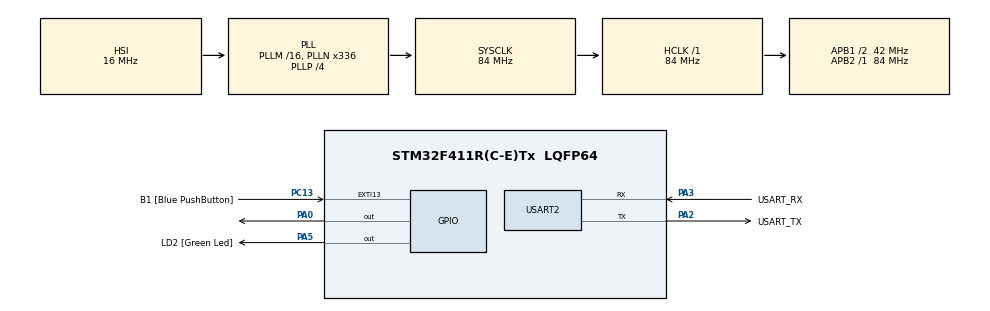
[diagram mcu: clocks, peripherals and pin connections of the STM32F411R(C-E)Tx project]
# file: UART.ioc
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Dma.Request0=USART2_RX
Dma.Request1=USART2_TX
Dma.USART2_RX.0.Direction=DMA_PERIPH_TO_MEMORY
Dma.USART2_RX.0.FIFOMode=DMA_FIFOMODE_DISABLE
Dma.USART2_RX.0.Instance=DMA1_Stream5
Dma.USART2_RX.0.MemDataAlignment=DMA_MDATAALIGN_BYTE
Dma.USART2_RX.0.MemInc=DMA_MINC_ENABLE
Dma.USART2_RX.0.Mode=DMA_CIRCULAR
Dma.USART2_RX.0.PeriphDataAlignment=DMA_PDATAALIGN_BYTE
Dma.USART2_RX.0.PeriphInc=DMA_PINC_DISABLE
Dma.USART2_RX.0.Priority=DMA_PRIORITY_LOW
Dma.USART2_TX.1.Direction=DMA_MEMORY_TO_PERIPH
Dma.USART2_TX.1.FIFOMode=DMA_FIFOMODE_DISABLE
Dma.USART2_TX.1.Instance=DMA1_Stream6
Dma.USART2_TX.1.MemDataAlignment=DMA_MDATAALIGN_BYTE
Dma.USART2_TX.1.MemInc=DMA_MINC_ENABLE
Dma.USART2_TX.1.Mode=DMA_NORMAL
Dma.USART2_TX.1.PeriphDataAlignment=DMA_PDATAALIGN_BYTE
Dma.USART2_TX.1.PeriphInc=DMA_PINC_DISABLE
Dma.USART2_TX.1.Priority=DMA_PRIORITY_LOW
Mcu.Family=STM32F4
Mcu.Name=STM32F411R(C-E)Tx
Mcu.Package=LQFP64
NVIC.DMA1_Stream5_IRQn=true\:0\:0\:false\:false\:true\:false\:true\:true
NVIC.DMA1_Stream6_IRQn=true\:0\:0\:false\:false\:true\:false\:true\:true
NVIC.PriorityGroup=NVIC_PRIORITYGROUP_0
NVIC.USART2_IRQn=true\:0\:0\:false\:false\:true\:true\:true\:true
PA0-WKUP.Signal=GPIO_Output
PA13.GPIO_Label=TMS
PA13.Mode=Serial_Wire
PA13.Signal=SYS_JTMS-SWDIO
PA14.GPIO_Label=TCK
PA14.Mode=Serial_Wire
PA14.Signal=SYS_JTCK-SWCLK
PA2.GPIO_Label=USART_TX
PA2.Mode=Asynchronous
PA2.Signal=USART2_TX
PA3.GPIO_Label=USART_RX
PA3.Mode=Asynchronous
PA3.Signal=USART2_RX
PA5.GPIO_Label=LD2 [Green Led]
PA5.Signal=GPIO_Output
PB3.GPIO_Label=SWO
PB3.Signal=SYS_JTDO-SWO
PC13-ANTI_TAMP.GPIO_Label=B1 [Blue PushButton]
PC13-ANTI_TAMP.GPIO_ModeDefaultEXTI=GPIO_MODE_IT_FALLING
PC13-ANTI_TAMP.Signal=GPXTI13
PC14-OSC32_IN.Mode=LSE-External-Oscillator
PC14-OSC32_IN.Signal=RCC_OSC32_IN
PC15-OSC32_OUT.Mode=LSE-External-Oscillator
PC15-OSC32_OUT.Signal=RCC_OSC32_OUT
PH0\ -\ OSC_IN.Mode=HSE-External-Clock-Source
PH0\ -\ OSC_IN.Signal=RCC_OSC_IN
PH1\ -\ OSC_OUT.Mode=HSE-External-Clock-Source
PH1\ -\ OSC_OUT.Signal=RCC_OSC_OUT
ProjectManager.HeapSize=0x200
ProjectManager.StackSize=0x400
ProjectManager.TargetToolchain=STM32CubeIDE
RCC.48MHZClocksFreq_Value=84000000
RCC.AHBFreq_Value=84000000
RCC.APB1CLKDivider=RCC_HCLK_DIV2
RCC.APB1Freq_Value=42000000
RCC.APB1TimFreq_Value=84000000
RCC.APB2Freq_Value=84000000
RCC.APB2TimFreq_Value=84000000
RCC.CortexFreq_Value=84000000
RCC.FLatency-AdvancedSettings=FLASH_LATENCY_2
RCC.HCLKFreq_Value=84000000
RCC.HSE_VALUE=8000000
RCC.HSI_VALUE=16000000
RCC.PLLN=336
RCC.PLLP=RCC_PLLP_DIV4
RCC.SYSCLKFreq_VALUE=84000000
RCC.SYSCLKSource=RCC_SYSCLKSOURCE_PLLCLK
RCC.VCOOutputFreq_Value=336000000
USART2.VirtualMode=VM_ASYNC
board=NUCLEO-F411RE

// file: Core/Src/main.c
/* USER CODE BEGIN Header */
/**
  ******************************************************************************
  * @file           : main.c
  * @brief          : Main program body
  ******************************************************************************
  * @attention
  *
  * Copyright (c) 2023 STMicroelectronics.
  * All rights reserved.
  *
  * This software is licensed under terms that can be found in the LICENSE file
  * in the root directory of this software component.
  * If no LICENSE file comes with this software, it is provided AS-IS.
  *
  ******************************************************************************
  */
/* USER CODE END Header */
#include "main.h"

/* USER CODE BEGIN Includes */
#include "stdio.h"
#include "string.h"
/* USER CODE END Includes */

UART_HandleTypeDef huart2;
DMA_HandleTypeDef hdma_usart2_rx;
DMA_HandleTypeDef hdma_usart2_tx;

/* USER CODE BEGIN PV */
uint8_t RxBuffer[20];
uint8_t TxBuffer[40];
/* USER CODE END PV */

void SystemClock_Config(void);
static void MX_GPIO_Init(void);
static void MX_DMA_Init(void);
static void MX_USART2_UART_Init(void);
/* USER CODE BEGIN PFP */
//void UARTPollingMethod();
void DummyTask();
void UARTInterruptConfig();
void UARTDMAConfig();
/* USER CODE END PFP */

int main(void)
{

  /* MCU Configuration--------------------------------------------------------*/

  /* Reset of all peripherals, Initializes the Flash interface and the Systick. */
  HAL_Init();

  /* Configure the system clock */
  SystemClock_Config();

  /* Initialize all configured peripherals */
  MX_GPIO_Init();
  MX_DMA_Init();
  MX_USART2_UART_Init();
  /* USER CODE BEGIN 2 */
//  uint8_t text[] = "Hello FIBO";
//  HAL_UART_Transmit(&huart2, text, 11, 10);

//  UARTInterruptConfig();

  UARTDMAConfig();
  /* USER CODE END 2 */

  /* Infinite loop */
  while (1)
  {

    /* USER CODE BEGIN 3 */
//	  UARTPollingMethod();
	  DummyTask();
	  HAL_GPIO_TogglePin(GPIOA, GPIO_PIN_0);
  }
  /* USER CODE END 3 */
}

void SystemClock_Config(void)
{
  RCC_OscInitTypeDef RCC_OscInitStruct = {0};
  RCC_ClkInitTypeDef RCC_ClkInitStruct = {0};

  /** Configure the main internal regulator output voltage
  */
  __HAL_RCC_PWR_CLK_ENABLE();
  __HAL_PWR_VOLTAGESCALING_CONFIG(PWR_REGULATOR_VOLTAGE_SCALE1);

  /** Initializes the RCC Oscillators according to the specified parameters
  * in the RCC_OscInitTypeDef structure.
  */
  RCC_OscInitStruct.OscillatorType = RCC_OSCILLATORTYPE_HSI;
  RCC_OscInitStruct.HSIState = RCC_HSI_ON;
  RCC_OscInitStruct.HSICalibrationValue = RCC_HSICALIBRATION_DEFAULT;
  RCC_OscInitStruct.PLL.PLLState = RCC_PLL_ON;
  RCC_OscInitStruct.PLL.PLLSource = RCC_PLLSOURCE_HSI;
  RCC_OscInitStruct.PLL.PLLM = 16;
  RCC_OscInitStruct.PLL.PLLN = 336;
  RCC_OscInitStruct.PLL.PLLP = RCC_PLLP_DIV4;
  RCC_OscInitStruct.PLL.PLLQ = 4;
  if (HAL_RCC_OscConfig(&RCC_OscInitStruct) != HAL_OK)
  {
    Error_Handler();
  }

  /** Initializes the CPU, AHB and APB buses clocks
  */
  RCC_ClkInitStruct.ClockType = RCC_CLOCKTYPE_HCLK|RCC_CLOCKTYPE_SYSCLK
                              |RCC_CLOCKTYPE_PCLK1|RCC_CLOCKTYPE_PCLK2;
  RCC_ClkInitStruct.SYSCLKSource = RCC_SYSCLKSOURCE_PLLCLK;
  RCC_ClkInitStruct.AHBCLKDivider = RCC_SYSCLK_DIV1;
  RCC_ClkInitStruct.APB1CLKDivider = RCC_HCLK_DIV2;
  RCC_ClkInitStruct.APB2CLKDivider = RCC_HCLK_DIV1;

  if (HAL_RCC_ClockConfig(&RCC_ClkInitStruct, FLASH_LATENCY_2) != HAL_OK)
  {
    Error_Handler();
  }
}

static void MX_USART2_UART_Init(void)
{

  huart2.Instance = USART2;
  huart2.Init.BaudRate = 115200;
  huart2.Init.WordLength = UART_WORDLENGTH_8B;
  huart2.Init.StopBits = UART_STOPBITS_1;
  huart2.Init.Parity = UART_PARITY_NONE;
  huart2.Init.Mode = UART_MODE_TX_RX;
  huart2.Init.HwFlowCtl = UART_HWCONTROL_NONE;
  huart2.Init.OverSampling = UART_OVERSAMPLING_16;
  if (HAL_UART_Init(&huart2) != HAL_OK)
  {
    Error_Handler();
  }

}

static void MX_DMA_Init(void)
{

  /* DMA controller clock enable */
  __HAL_RCC_DMA1_CLK_ENABLE();

  /* DMA interrupt init */
  /* DMA1_Stream5_IRQn interrupt configuration */
  HAL_NVIC_SetPriority(DMA1_Stream5_IRQn, 0, 0);
  HAL_NVIC_EnableIRQ(DMA1_Stream5_IRQn);
  /* DMA1_Stream6_IRQn interrupt configuration */
  HAL_NVIC_SetPriority(DMA1_Stream6_IRQn, 0, 0);
  HAL_NVIC_EnableIRQ(DMA1_Stream6_IRQn);

}

static void MX_GPIO_Init(void)
{
  GPIO_InitTypeDef GPIO_InitStruct = {0};

  /* GPIO Ports Clock Enable */
  __HAL_RCC_GPIOC_CLK_ENABLE();
  __HAL_RCC_GPIOH_CLK_ENABLE();
  __HAL_RCC_GPIOA_CLK_ENABLE();
  __HAL_RCC_GPIOB_CLK_ENABLE();

  /*Configure GPIO pin Output Level */
  HAL_GPIO_WritePin(GPIOA, GPIO_PIN_0|LD2_Pin, GPIO_PIN_RESET);

  /*Configure GPIO pin : B1_Pin */
  GPIO_InitStruct.Pin = B1_Pin;
  GPIO_InitStruct.Mode = GPIO_MODE_IT_FALLING;
  GPIO_InitStruct.Pull = GPIO_NOPULL;
  HAL_GPIO_Init(B1_GPIO_Port, &GPIO_InitStruct);

  /*Configure GPIO pins : PA0 LD2_Pin */
  GPIO_InitStruct.Pin = GPIO_PIN_0|LD2_Pin;
  GPIO_InitStruct.Mode = GPIO_MODE_OUTPUT_PP;
  GPIO_InitStruct.Pull = GPIO_NOPULL;
  GPIO_InitStruct.Speed = GPIO_SPEED_FREQ_LOW;
  HAL_GPIO_Init(GPIOA, &GPIO_InitStruct);

}

/* USER CODE BEGIN 4 */
void UARTPollingMethod()
{
	HAL_StatusTypeDef HAL_status = HAL_UART_Receive(&huart2, RxBuffer, 10, 10000);

	if(HAL_status == HAL_OK)
	{
		RxBuffer[10] = '\0';

		sprintf((char*)TxBuffer,"Received : %s\r\n", RxBuffer);
		HAL_UART_Transmit(&huart2, TxBuffer, strlen((char*)TxBuffer), 10);
	}

	else if(HAL_status == HAL_TIMEOUT)
	{
		uint32_t lastCharPos = huart2.RxXferSize - huart2.RxXferCount;
		RxBuffer[lastCharPos] = '\0';

		sprintf((char*)TxBuffer,"Received Timeout : %s\r\n",RxBuffer);
		HAL_UART_Transmit(&huart2, TxBuffer, strlen((char*)TxBuffer), 10);
	}
}

void DummyTask()
{
	static uint32_t timestamp = 0;
	if(HAL_GetTick()>=timestamp)
	{
		timestamp = HAL_GetTick()+100;
		HAL_GPIO_TogglePin(LD2_GPIO_Port,LD2_Pin);
	}

}

void UARTInterruptConfig()
{
	HAL_UART_Receive_IT(&huart2, RxBuffer, 10);
}

//void HAL_UART_RxCpltCallback(UART_HandleTypeDef *huart)
//{
//	if(huart == &huart2)
//	{
//		RxBuffer[10] = '\0';
//		sprintf((char*)TxBuffer,"Received : %s\r\n",RxBuffer);
//		HAL_UART_Transmit_IT(&huart2, TxBuffer, strlen((char*)TxBuffer));
//
//		HAL_UART_Receive_IT(&huart2, RxBuffer, 10);
//	}
//}

void UARTDMAConfig()
{
	HAL_UART_Receive_DMA(&huart2, RxBuffer, 10);
}

void HAL_UART_RxCpltCallback(UART_HandleTypeDef *huart)
{
	if(huart == &huart2)
	{
		RxBuffer[10] = '\0';
		sprintf((char*)TxBuffer,"Received : %s\r\n",RxBuffer);
		HAL_UART_Transmit_DMA(&huart2, TxBuffer, strlen((char*)TxBuffer));
	}
}
/* USER CODE END 4 */

void Error_Handler(void)
{
  __disable_irq();
  while (1)
  {
  }
}
